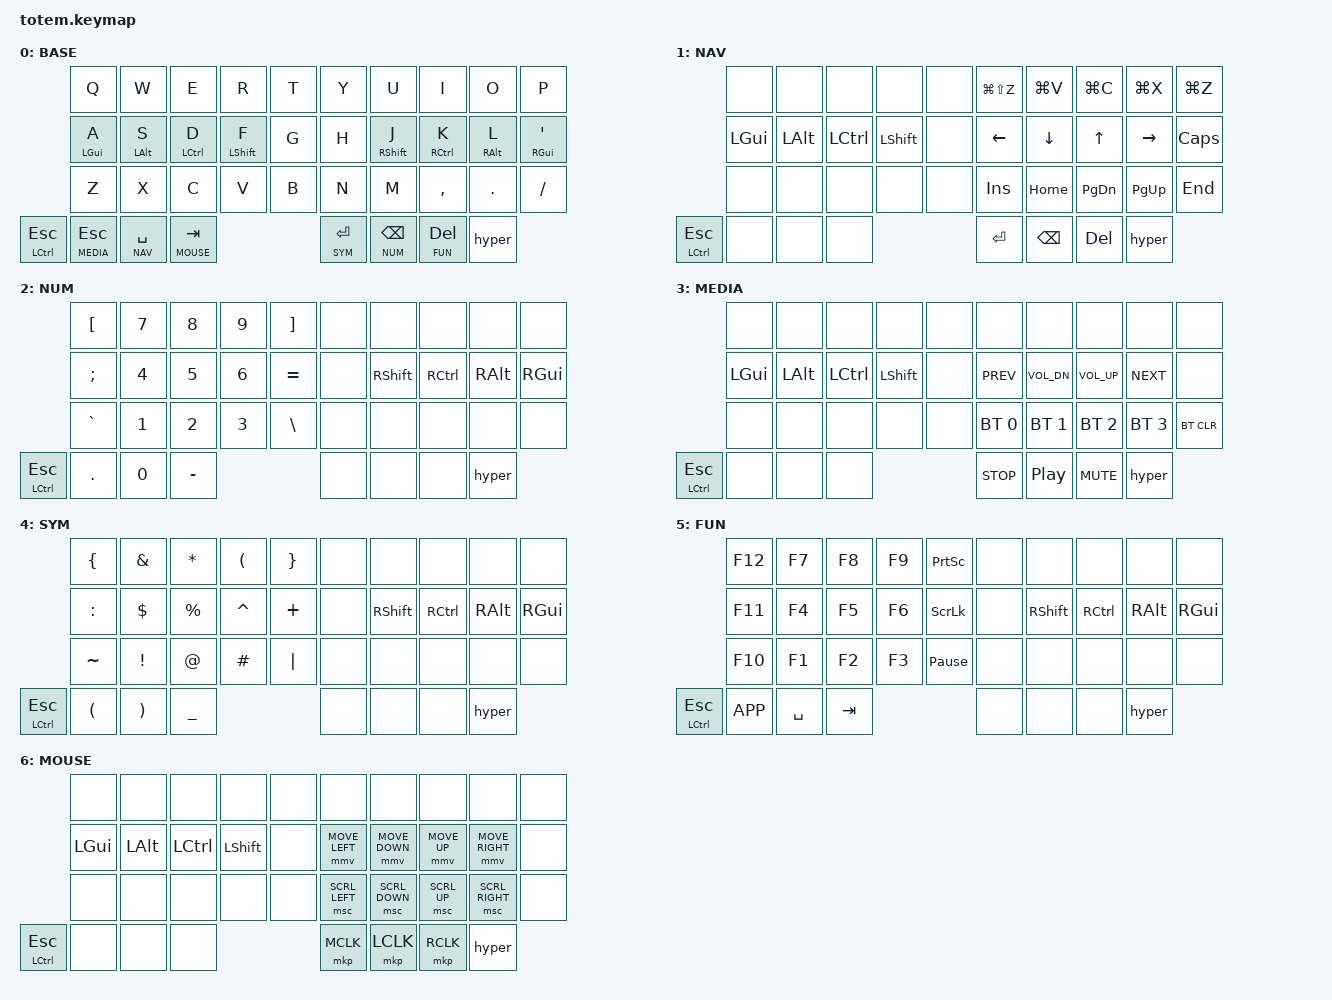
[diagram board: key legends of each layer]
//
//                                                        ▀▀▀▀▀     ▀▀▀▀▀          ▀▀█▀▀
//                                                        ▄▀▀▀▄  ▄  ▄▀▀▀▄  ▄  ▄▀▀▀▄  █  ▄▀▀▀▄
//                                                        █   █  █  █   █  █  █   █  █  █   █
//                                                         ▀▀▀   █   ▀▀▀   █   ▀▀▀   ▀   ▀▀▀
//                                                               █      ▄▄▄█▄▄▄    █   █
//                                                               ▀      █  █  █     █▄█
//                                                             ▀▀▀▀▀    █  █  █      ▀
//                                                                      ▀  ▀  ▀
//
// ▄▄▄▄▄▄▄▄▄▄▄▄▄▄▄▄▄▄▄▄▄▄▄▄▄▄▄▄▄▄▄▄▄▄▄▄▄▄▄▄▄▄▄▄▄▄▄▄▄▄▄▄▄▄▄▄▄▄▄▄▄▄▄▄▄▄▄▄▄▄▄▄▄▄▄▄▄▄▄▄▄▄▄▄▄▄▄▄▄▄▄▄▄▄▄▄▄▄▄▄▄▄▄▄▄▄▄▄▄▄▄▄▄▄▄▄▄▄▄▄▄▄▄▄▄▄▄▄▄▄▄▄▄▄▄▄▄▄▄▄▄▄▄▄▄▄▄▄▄
//
//   Miryoku-style layout — QWERTY base, vim arrows (HJKL), GACS home row mods
//
//   Layer 0: BASE    — QWERTY + home row mods
//   Layer 1: NAV     — vim arrows, clipboard, nav (hold SPACE)
//   Layer 2: NUM     — numpad left hand (hold BSPC)
//   Layer 3: MEDIA   — media, BT (hold ESC)
//   Layer 4: SYM     — symbols left hand (hold ENTER)
//   Layer 5: FUN     — function keys left hand (hold DEL)
//   Layer 6: MOUSE   — mouse movement, scroll, buttons (hold TAB)

#include <behaviors.dtsi>
#include <dt-bindings/zmk/bt.h>
#include <dt-bindings/zmk/keys.h>
#include <dt-bindings/zmk/mouse.h>

#define BASE  0
#define NAV   1
#define NUM   2
#define MEDIA 3
#define SYM   4
#define FUN   5
#define MOUSE 6

&mt {
    flavor = "tap-preferred";
    tapping-term-ms = <200>;
    quick-tap-ms = <175>;
    require-prior-idle-ms = <150>;
};

&lt {
    flavor = "balanced";
    tapping-term-ms = <200>;
    quick-tap-ms = <175>;
};

/ {
    combos {
        compatible = "zmk,combos";

        // ── Tier 1: Essential ──────────────────────────────────────

        combo_caps_word {
            bindings = <&caps_word>;
            key-positions = <13 16>;         // F + J (index home row)
            timeout-ms = <30>;
            require-prior-idle-ms = <150>;
        };

        combo_esc {
            bindings = <&kp ESC>;
            key-positions = <1 2>;           // W + E
            timeout-ms = <30>;
            require-prior-idle-ms = <150>;
        };

        combo_bspc {
            bindings = <&kp BSPC>;
            key-positions = <7 8>;           // I + O
            timeout-ms = <30>;
            require-prior-idle-ms = <150>;
        };

        combo_del {
            bindings = <&kp DEL>;
            key-positions = <8 9>;           // O + P
            timeout-ms = <30>;
            require-prior-idle-ms = <150>;
        };

        // ── Tier 2: High Value ─────────────────────────────────────

        combo_tab {
            bindings = <&kp TAB>;
            key-positions = <11 12>;         // S + D
            timeout-ms = <30>;
            require-prior-idle-ms = <150>;
        };

        combo_enter {
            bindings = <&kp RET>;
            key-positions = <17 18>;         // K + L
            timeout-ms = <30>;
            require-prior-idle-ms = <150>;
        };

        combo_copy {
            bindings = <&kp LG(C)>;
            key-positions = <22 23>;         // X + C
            timeout-ms = <30>;
            require-prior-idle-ms = <150>;
        };

        combo_paste {
            bindings = <&kp LG(V)>;
            key-positions = <23 24>;         // C + V
            timeout-ms = <30>;
            require-prior-idle-ms = <150>;
        };

        combo_cut {
            bindings = <&kp LG(X)>;
            key-positions = <22 24>;         // X + V (skip middle)
            timeout-ms = <30>;
            require-prior-idle-ms = <150>;
        };

        // ── Tier 3: Vertical Symbol Combos ─────────────────────────

        combo_minus {
            bindings = <&kp MINUS>;
            key-positions = <16 27>;         // J + M (right index vertical)
            timeout-ms = <40>;
            require-prior-idle-ms = <100>;
        };

        combo_underscore {
            bindings = <&kp UNDER>;
            key-positions = <15 26>;         // H + N (right inner vertical)
            timeout-ms = <40>;
            require-prior-idle-ms = <100>;
        };

        combo_equal {
            bindings = <&kp EQUAL>;
            key-positions = <13 24>;         // F + V (left index vertical)
            timeout-ms = <40>;
            require-prior-idle-ms = <100>;
        };

        combo_grave {
            bindings = <&kp GRAVE>;
            key-positions = <11 22>;         // S + X (left ring vertical)
            timeout-ms = <40>;
            require-prior-idle-ms = <100>;
        };

        combo_semi {
            bindings = <&kp SEMI>;
            key-positions = <18 19>;         // L + ' (right ring+pinky home)
            timeout-ms = <30>;
            require-prior-idle-ms = <150>;
        };
    };

    macros {
        hyper: hyper {
            compatible = "zmk,behavior-macro";
            #binding-cells = <0>;
            bindings =
                <&macro_press &kp LGUI &kp LALT &kp LCTRL &kp LSHFT>,
                <&macro_pause_for_release>,
                <&macro_release &kp LGUI &kp LALT &kp LCTRL &kp LSHFT>;
        };
    };

    keymap {
        compatible = "zmk,keymap";

        // ▄▄▄▄▄▄▄▄▄▄▄▄▄▄▄▄▄▄▄▄▄▄▄▄▄▄▄▄▄▄▄▄▄▄▄▄▄▄▄▄▄▄▄▄▄▄▄▄▄▄▄▄▄▄▄▄▄▄▄▄▄▄▄▄▄▄▄▄▄▄▄▄▄▄▄▄▄▄▄▄▄▄▄▄▄▄▄▄▄▄▄▄▄▄▄▄▄▄▄▄▄▄▄▄▄▄▄▄▄▄▄▄▄▄▄▄▄▄▄▄▄▄▄▄▄▄▄▄▄▄▄▄▄▄▄▄▄▄▄▄▄▄▄▄▄▄▄▄▄

        base_layer {
            display-name = "BASE";
            //             ┏━━━━━━━━━━━┳━━━━━━━━━━━┳━━━━━━━━━━━┳━━━━━━━━━━━┳━━━━━━━━━━━┓   ┏━━━━━━━━━━━┳━━━━━━━━━━━┳━━━━━━━━━━━┳━━━━━━━━━━━┳━━━━━━━━━━━┓
            //             ┃     Q     ┃     W     ┃     E     ┃     R     ┃     T     ┃   ┃     Y     ┃     U     ┃     I     ┃     O     ┃     P     ┃
            //             ┣━━━━━━━━━━━╋━━━━━━━━━━━╋━━━━━━━━━━━╋━━━━━━━━━━━╋━━━━━━━━━━━┫   ┣━━━━━━━━━━━╋━━━━━━━━━━━╋━━━━━━━━━━━╋━━━━━━━━━━━╋━━━━━━━━━━━┫
            //             ┃  GUI/A    ┃  ALT/S    ┃  CTRL/D   ┃  SHFT/F   ┃     G     ┃   ┃     H     ┃  SHFT/J   ┃  CTRL/K   ┃  ALT/L    ┃  GUI/'    ┃
            //             ┣━━━━━━━━━━━╋━━━━━━━━━━━╋━━━━━━━━━━━╋━━━━━━━━━━━╋━━━━━━━━━━━┫   ┣━━━━━━━━━━━╋━━━━━━━━━━━╋━━━━━━━━━━━╋━━━━━━━━━━━╋━━━━━━━━━━━┫
            //             ┃     Z     ┃     X     ┃     C     ┃     V     ┃     B     ┃   ┃     N     ┃     M     ┃     ,     ┃     .     ┃     /     ┃
            // ┏━━━━━━━━━━━╋━━━━━━━━━━━╋━━━━━━━━━━━╋━━━━━━━━━━━╋━━━━━━━━━━━╋━━━━━━━━━━━┫   ┣━━━━━━━━━━━╋━━━━━━━━━━━╋━━━━━━━━━━━╋━━━━━━━━━━━┻━━━━━━━━━━━┛
            // ┃ CTRL/ESC  ┃ MEDIA/ESC ┃  NAV/SPC  ┃ MOUSE/TAB ┃           ┃           ┃   ┃  SYM/ENT  ┃ NUM/BSPC  ┃  FUN/DEL  ┃   HYPER   ┃
            // ┗━━━━━━━━━━━┻━━━━━━━━━━━┻━━━━━━━━━━━┻━━━━━━━━━━━┛                           ┗━━━━━━━━━━━┻━━━━━━━━━━━┻━━━━━━━━━━━┻━━━━━━━━━━━┛
            bindings = <
                &kp Q       &kp W       &kp E         &kp R         &kp T           &kp Y       &kp U         &kp I         &kp O        &kp P
                &mt LGUI A  &mt LALT S  &mt LCTRL D   &mt LSHFT F   &kp G           &kp H       &mt RSHFT J   &mt RCTRL K   &mt RALT L   &mt RGUI SQT
                &kp Z       &kp X       &kp C         &kp V         &kp B           &kp N       &kp M         &kp COMMA     &kp DOT      &kp FSLH
  &mt LCTRL ESC &lt MEDIA ESC &lt NAV SPACE &lt MOUSE TAB                 &lt SYM RET &lt NUM BSPC  &lt FUN DEL               &hyper
            >;
        };

        // ▄▄▄▄▄▄▄▄▄▄▄▄▄▄▄▄▄▄▄▄▄▄▄▄▄▄▄▄▄▄▄▄▄▄▄▄▄▄▄▄▄▄▄▄▄▄▄▄▄▄▄▄▄▄▄▄▄▄▄▄▄▄▄▄▄▄▄▄▄▄▄▄▄▄▄▄▄▄▄▄▄▄▄▄▄▄▄▄▄▄▄▄▄▄▄▄▄▄▄▄▄▄▄▄▄▄▄▄▄▄▄▄▄▄▄▄▄▄▄▄▄▄▄▄▄▄▄▄▄▄▄▄▄▄▄▄▄▄▄▄▄▄▄▄▄▄▄▄▄

        nav_layer {
            display-name = "NAV";
            // Right hand: vim arrows (HJKL), clipboard, nav
            // Left hand: home row mods (transparent for hold layer)
            bindings = <
                &none       &none       &none         &none         &none           &kp LG(LS(Z)) &kp LG(V)  &kp LG(C)     &kp LG(X)    &kp LG(Z)
                &kp LGUI    &kp LALT    &kp LCTRL     &kp LSHFT     &none           &kp LEFT    &kp DOWN      &kp UP        &kp RIGHT    &kp CAPS
                &none       &none       &none         &none         &none           &kp INS     &kp HOME      &kp PG_DN     &kp PG_UP    &kp END
  &mt LCTRL ESC &none         &none         &none                               &kp RET     &kp BSPC      &kp DEL               &hyper
            >;
        };

        // ▄▄▄▄▄▄▄▄▄▄▄▄▄▄▄▄▄▄▄▄▄▄▄▄▄▄▄▄▄▄▄▄▄▄▄▄▄▄▄▄▄▄▄▄▄▄▄▄▄▄▄▄▄▄▄▄▄▄▄▄▄▄▄▄▄▄▄▄▄▄▄▄▄▄▄▄▄▄▄▄▄▄▄▄▄▄▄▄▄▄▄▄▄▄▄▄▄▄▄▄▄▄▄▄▄▄▄▄▄▄▄▄▄▄▄▄▄▄▄▄▄▄▄▄▄▄▄▄▄▄▄▄▄▄▄▄▄▄▄▄▄▄▄▄▄▄▄▄▄

        num_layer {
            display-name = "NUM";
            // Left hand: number pad style
            // Right hand: home row mods
            bindings = <
                &kp LBKT    &kp N7      &kp N8        &kp N9        &kp RBKT        &none       &none         &none         &none        &none
                &kp SEMI    &kp N4      &kp N5        &kp N6        &kp EQUAL       &none       &kp RSHFT     &kp RCTRL     &kp RALT     &kp RGUI
                &kp GRAVE   &kp N1      &kp N2        &kp N3        &kp BSLH        &none       &none         &none         &none        &none
  &mt LCTRL ESC &kp DOT       &kp N0        &kp MINUS                           &none       &none         &none                 &hyper
            >;
        };

        // ▄▄▄▄▄▄▄▄▄▄▄▄▄▄▄▄▄▄▄▄▄▄▄▄▄▄▄▄▄▄▄▄▄▄▄▄▄▄▄▄▄▄▄▄▄▄▄▄▄▄▄▄▄▄▄▄▄▄▄▄▄▄▄▄▄▄▄▄▄▄▄▄▄▄▄▄▄▄▄▄▄▄▄▄▄▄▄▄▄▄▄▄▄▄▄▄▄▄▄▄▄▄▄▄▄▄▄▄▄▄▄▄▄▄▄▄▄▄▄▄▄▄▄▄▄▄▄▄▄▄▄▄▄▄▄▄▄▄▄▄▄▄▄▄▄▄▄▄▄

        media_layer {
            display-name = "MEDIA";
            // Right hand: media controls + BT
            // Left hand: home row mods
            bindings = <
                &none       &none       &none         &none         &none           &none          &none          &none          &none          &none
                &kp LGUI    &kp LALT    &kp LCTRL     &kp LSHFT     &none           &kp C_PREV     &kp C_VOL_DN   &kp C_VOL_UP   &kp C_NEXT     &none
                &none       &none       &none         &none         &none           &bt BT_SEL 0   &bt BT_SEL 1   &bt BT_SEL 2   &bt BT_SEL 3   &bt BT_CLR
  &mt LCTRL ESC &none         &none         &none                               &kp C_STOP     &kp C_PP       &kp C_MUTE            &hyper
            >;
        };

        // ▄▄▄▄▄▄▄▄▄▄▄▄▄▄▄▄▄▄▄▄▄▄▄▄▄▄▄▄▄▄▄▄▄▄▄▄▄▄▄▄▄▄▄▄▄▄▄▄▄▄▄▄▄▄▄▄▄▄▄▄▄▄▄▄▄▄▄▄▄▄▄▄▄▄▄▄▄▄▄▄▄▄▄▄▄▄▄▄▄▄▄▄▄▄▄▄▄▄▄▄▄▄▄▄▄▄▄▄▄▄▄▄▄▄▄▄▄▄▄▄▄▄▄▄▄▄▄▄▄▄▄▄▄▄▄▄▄▄▄▄▄▄▄▄▄▄▄▄▄

        sym_layer {
            display-name = "SYM";
            // Left hand: symbols
            // Right hand: home row mods
            bindings = <
                &kp LBRC    &kp AMPS    &kp ASTRK     &kp LPAR      &kp RBRC        &none       &none         &none         &none        &none
                &kp COLON   &kp DLLR    &kp PRCNT     &kp CARET     &kp PLUS        &none       &kp RSHFT     &kp RCTRL     &kp RALT     &kp RGUI
                &kp TILDE   &kp EXCL    &kp AT        &kp HASH      &kp PIPE        &none       &none         &none         &none        &none
  &mt LCTRL ESC &kp LPAR      &kp RPAR      &kp UNDER                           &none       &none         &none                 &hyper
            >;
        };

        // ▄▄▄▄▄▄▄▄▄▄▄▄▄▄▄▄▄▄▄▄▄▄▄▄▄▄▄▄▄▄▄▄▄▄▄▄▄▄▄▄▄▄▄▄▄▄▄▄▄▄▄▄▄▄▄▄▄▄▄▄▄▄▄▄▄▄▄▄▄▄▄▄▄▄▄▄▄▄▄▄▄▄▄▄▄▄▄▄▄▄▄▄▄▄▄▄▄▄▄▄▄▄▄▄▄▄▄▄▄▄▄▄▄▄▄▄▄▄▄▄▄▄▄▄▄▄▄▄▄▄▄▄▄▄▄▄▄▄▄▄▄▄▄▄▄▄▄▄▄

        fun_layer {
            display-name = "FUN";
            // Left hand: function keys
            // Right hand: home row mods
            bindings = <
                &kp F12     &kp F7      &kp F8        &kp F9        &kp PSCRN       &none       &none         &none         &none        &none
                &kp F11     &kp F4      &kp F5        &kp F6        &kp SLCK        &none       &kp RSHFT     &kp RCTRL     &kp RALT     &kp RGUI
                &kp F10     &kp F1      &kp F2        &kp F3        &kp PAUSE_BREAK &none       &none         &none         &none        &none
  &mt LCTRL ESC &kp K_APP     &kp SPACE     &kp TAB                              &none       &none         &none                 &hyper
            >;
        };

        // ▄▄▄▄▄▄▄▄▄▄▄▄▄▄▄▄▄▄▄▄▄▄▄▄▄▄▄▄▄▄▄▄▄▄▄▄▄▄▄▄▄▄▄▄▄▄▄▄▄▄▄▄▄▄▄▄▄▄▄▄▄▄▄▄▄▄▄▄▄▄▄▄▄▄▄▄▄▄▄▄▄▄▄▄▄▄▄▄▄▄▄▄▄▄▄▄▄▄▄▄▄▄▄▄▄▄▄▄▄▄▄▄▄▄▄▄▄▄▄▄▄▄▄▄▄▄▄▄▄▄▄▄▄▄▄▄▄▄▄▄▄▄▄▄▄▄▄▄▄

        mouse_layer {
            display-name = "MOUSE";
            // Right hand: mouse movement, scroll, buttons
            // Left hand: home row mods
            bindings = <
                &none       &none       &none         &none         &none           &none            &none            &none          &none             &none
                &kp LGUI    &kp LALT    &kp LCTRL     &kp LSHFT     &none           &mmv MOVE_LEFT   &mmv MOVE_DOWN   &mmv MOVE_UP   &mmv MOVE_RIGHT   &none
                &none       &none       &none         &none         &none           &msc SCRL_LEFT   &msc SCRL_DOWN   &msc SCRL_UP   &msc SCRL_RIGHT   &none
  &mt LCTRL ESC &none         &none         &none                               &mkp MCLK        &mkp LCLK        &mkp RCLK             &hyper
            >;
        };
    };
};
